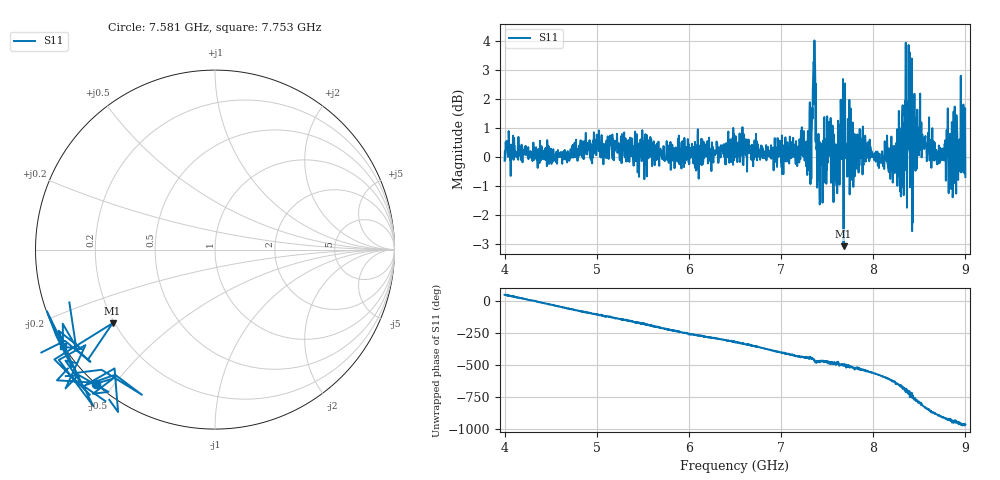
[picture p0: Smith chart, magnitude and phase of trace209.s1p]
! Created with skrf 1.8.0 (http://scikit-rf.org).
# Hz S RI R 50.0
!freq ReS11 ImS11
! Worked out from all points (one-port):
!   1601 points, 4 GHz to 9 GHz, reference 50 ohm
!   lowest |S11| = -3.1 dB at 7.678 GHz (marker M1), VSWR 5.73, Z = 9.6 - j15.6 ohm
!   |S11| at or under -10 dB: nowhere
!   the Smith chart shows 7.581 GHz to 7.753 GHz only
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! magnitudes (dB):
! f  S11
! 4 GHz  -0.1
! 4.625 GHz  -0.2
! 5.25 GHz  -0.1
! 5.875 GHz  -0.2
! 6.5 GHz  0.4
! 7.125 GHz  0.5
! 7.294 GHz  0.2
! 7.319 GHz  -0.9
! 7.356 GHz  3.1
! 7.409 GHz  -0.4
! 7.512 GHz  0.7
! 7.591 GHz  -0.1
! 7.647 GHz  2.0
! 7.678 GHz  -3.1
! 7.75 GHz  -0.5
! 7.878 GHz  0.3
! 8.097 GHz  0.2
! 8.316 GHz  1.4
! 8.334 GHz  0.5
! 8.347 GHz  1.7
! 8.375 GHz  0.5
! 8.447 GHz  2.2
! 8.459 GHz  -0.5
! 8.497 GHz  0.1
! 8.7 GHz  0.1
! 8.919 GHz  -0.7
! 8.972 GHz  0.4
! 9 GHz  -0.7
